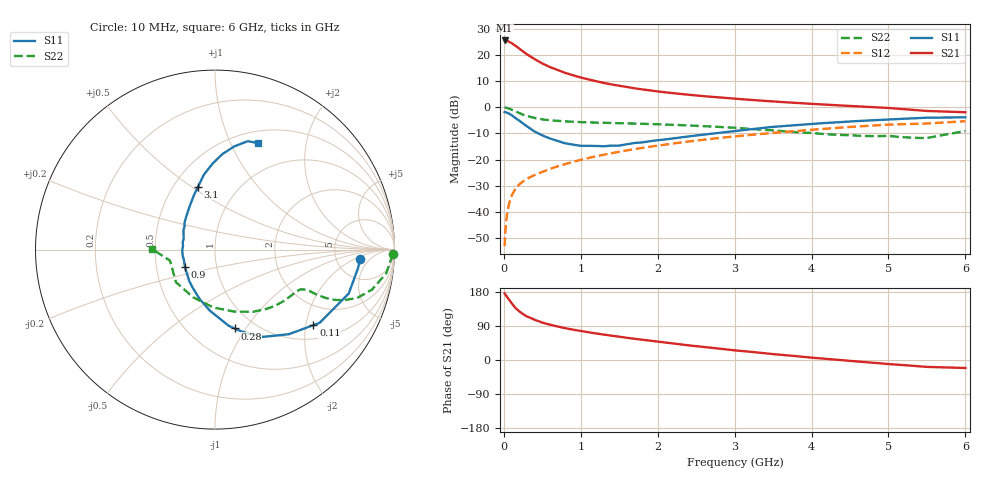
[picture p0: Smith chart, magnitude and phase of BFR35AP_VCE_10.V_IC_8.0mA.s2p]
! Infineon Technologies  Discrete & RF Semiconductors
! BFR35AP
! VCE =  10. V,  IC =  8.0 mA
! Common Emitter S-Parameters:  Nov 2015
# GHz  S  MA  R  50
!  f  S11  S21  S12  S22
! GHz  MAG  ANG  MAG  ANG  MAG  ANG  MAG  ANG
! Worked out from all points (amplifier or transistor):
!   210 points, 10 MHz to 6 GHz, reference 50 ohm
!   highest |S21| = 25.6 dB at 10 MHz (marker M1)
!   |S21| within 3 dB of that: start of sweep to 197.2 MHz
!   unconditionally stable (mu >= 1): 721.3 MHz to 2.824 GHz
!   at 185 MHz: K = 0.47, MSG = 26.4 dB, |S12| = -30.0 dB
!   at 1.52 GHz: K = 1.09, MAG = 10.7 dB, |S12| = -16.9 dB
!   at 6 GHz: K = 0.88, MSG = 1.7 dB, |S12| = -5.3 dB
!   S11 on the Smith chart (normalised r, x): 10 MHz: 8.67, -2.71; 110 MHz: 1.37, -2.21; 280 MHz: 0.81, -0.89; 900 MHz: 0.70, -0.14; 3.1 GHz: 0.66, +0.53; 6 GHz: 0.64, +1.28
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0.01  0.8101 -3.8  18.95 176.1  0.0022 91.5  0.9899 -1.5
0.025  0.7985 -9.1  18.73 171.4  0.0053 83.7  0.9785 -4.0
0.05  0.7844 -18.2  18.53 163.9  0.0108 79.2  0.964 -7.8
0.1  0.7117 -35.0  16.96 150.1  0.02 73.3  0.9028 -14.3
0.11  0.6915 -37.5  16.53 147.8  0.0215 72.0  0.8892 -15.1
0.15  0.6256 -48.9  15.08 137.4  0.0274 68.2  0.837 -18.8
0.195  0.5612 -59.8  13.48 129.3  0.0328 65.1  0.779 -21.1
0.24  0.4996 -68.8  11.96 122.5  0.0372 62.9  0.7304 -22.6
0.28  0.4528 -76.0  10.82 117.5  0.0409 62.2  0.6961 -23.3
0.3  0.432 -79.7  10.3 114.9  0.0427 62.1  0.6803 -23.5
0.4  0.3431 -94.5  8.334 106.0  0.0506 62.0  0.6223 -23.9
0.5  0.2901 -106.8  6.866 98.6  0.058 62.5  0.5846 -23.7
0.6  0.2523 -118.2  5.87 93.1  0.0662 62.9  0.5632 -23.8
0.7  0.2272 -128.9  5.124 88.2  0.0741 63.3  0.5483 -24.0
0.9  0.1933 -150.3  4.067 79.9  0.0906 64.2  0.5265 -24.9
1.02  0.1825 -162.8  3.643 75.8  0.1001 64.2  0.5185 -25.8
1.4  0.1847 166.6  2.725 64.2  0.1321 63.4  0.5011 -29.8
2.02  0.2352 134.6  1.988 47.9  0.1864 59.6  0.4715 -38.7
3.1  0.3633 105.0  1.42 23.7  0.2859 50.1  0.395 -61.3
4.1  0.4907 90.2  1.139 4.6  0.3803 39.0  0.3124 -96.2
5.1  0.5931 78.2  0.944 -12.0  0.4692 25.3  0.2741 -144.9
6  0.641 67.8  0.802 -21.1  0.5405 14.7  0.3499 179.6
